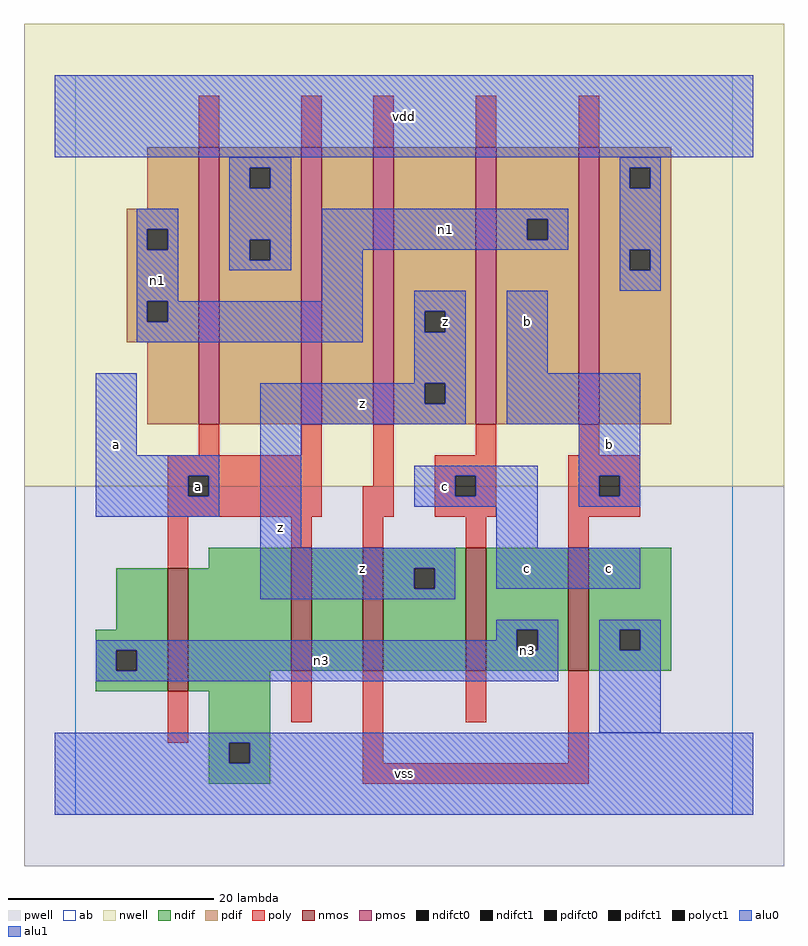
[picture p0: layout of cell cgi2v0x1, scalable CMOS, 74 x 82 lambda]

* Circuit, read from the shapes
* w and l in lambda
.subckt cgi2v0x1 a b c n1 n3 vdd vss z
M1 vss a n3 VSUBS nfet w=12 l=2
M2 n2 a vss VSUBS nfet w=12 l=2
M3 z b n2 VSUBS nfet w=12 l=2
M4 n3 c z VSUBS nfet w=12 l=2
M5 vss b n3 VSUBS nfet w=12 l=2
M6 vdd a n1 n4 pfet w=27 l=2
M7 n5 a vdd n4 pfet w=27 l=2
M8 z b n5 n4 pfet w=27 l=2
M9 n1 c z n4 pfet w=27 l=2
M10 vdd b n1 n4 pfet w=27 l=2
.ends

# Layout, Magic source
magic
tech scmos
<< ab >>
rect 0 0 64 72
<< nwell >>
rect -5 32 69 77
<< pwell >>
rect -5 -5 69 32
<< poly >>
rect 12 65 14 70
rect 22 65 24 70
rect 29 65 31 70
rect 39 65 41 70
rect 49 65 51 70
rect 12 35 14 38
rect 22 35 24 38
rect 9 33 24 35
rect 9 31 11 33
rect 13 31 24 33
rect 29 32 31 38
rect 39 35 41 38
rect 49 35 51 38
rect 9 29 24 31
rect 28 29 31 32
rect 35 33 41 35
rect 35 31 37 33
rect 39 31 41 33
rect 35 29 41 31
rect 48 33 55 35
rect 48 31 51 33
rect 53 31 55 33
rect 48 29 55 31
rect 9 24 11 29
rect 21 26 23 29
rect 28 26 30 29
rect 38 26 40 29
rect 48 26 50 29
rect 9 7 11 12
rect 21 9 23 14
rect 28 5 30 14
rect 38 9 40 14
rect 48 5 50 14
rect 28 3 50 5
<< ndif >>
rect 13 24 21 26
rect 4 18 9 24
rect 2 16 9 18
rect 2 14 4 16
rect 6 14 9 16
rect 2 12 9 14
rect 11 14 21 24
rect 23 14 28 26
rect 30 24 38 26
rect 30 22 33 24
rect 35 22 38 24
rect 30 14 38 22
rect 40 18 48 26
rect 40 16 43 18
rect 45 16 48 18
rect 40 14 48 16
rect 50 18 58 26
rect 50 16 53 18
rect 55 16 58 18
rect 50 14 58 16
rect 11 12 19 14
rect 13 7 19 12
rect 13 5 15 7
rect 17 5 19 7
rect 13 3 19 5
<< pdif >>
rect 7 59 12 65
rect 5 57 12 59
rect 5 55 7 57
rect 9 55 12 57
rect 5 50 12 55
rect 5 48 7 50
rect 9 48 12 50
rect 5 46 12 48
rect 7 38 12 46
rect 14 63 22 65
rect 14 61 17 63
rect 19 61 22 63
rect 14 56 22 61
rect 14 54 17 56
rect 19 54 22 56
rect 14 38 22 54
rect 24 38 29 65
rect 31 49 39 65
rect 31 47 34 49
rect 36 47 39 49
rect 31 42 39 47
rect 31 40 34 42
rect 36 40 39 42
rect 31 38 39 40
rect 41 58 49 65
rect 41 56 44 58
rect 46 56 49 58
rect 41 38 49 56
rect 51 63 58 65
rect 51 61 54 63
rect 56 61 58 63
rect 51 55 58 61
rect 51 53 54 55
rect 56 53 58 55
rect 51 38 58 53
<< alu1 >>
rect -2 64 66 72
rect 33 49 38 51
rect 33 47 34 49
rect 36 47 38 49
rect 2 35 6 43
rect 33 42 38 47
rect 18 40 34 42
rect 36 40 38 42
rect 18 38 38 40
rect 42 43 46 51
rect 42 38 55 43
rect 2 33 14 35
rect 2 31 11 33
rect 13 31 14 33
rect 2 29 14 31
rect 18 26 22 38
rect 33 33 45 34
rect 33 31 37 33
rect 39 31 45 33
rect 33 30 45 31
rect 49 33 55 38
rect 49 31 51 33
rect 53 31 55 33
rect 49 30 55 31
rect 41 26 45 30
rect 18 24 37 26
rect 18 22 33 24
rect 35 22 37 24
rect 41 22 55 26
rect 18 21 37 22
rect -2 7 66 8
rect -2 5 15 7
rect 17 5 66 7
rect -2 0 66 5
<< nmos >>
rect 9 12 11 24
rect 21 14 23 26
rect 28 14 30 26
rect 38 14 40 26
rect 48 14 50 26
<< pmos >>
rect 12 38 14 65
rect 22 38 24 65
rect 29 38 31 65
rect 39 38 41 65
rect 49 38 51 65
<< polyct1 >>
rect 11 31 13 33
rect 37 31 39 33
rect 51 31 53 33
<< ndifct0 >>
rect 4 14 6 16
rect 43 16 45 18
rect 53 16 55 18
<< ndifct1 >>
rect 33 22 35 24
rect 15 5 17 7
<< pdifct0 >>
rect 7 55 9 57
rect 7 48 9 50
rect 17 61 19 63
rect 17 54 19 56
rect 44 56 46 58
rect 54 61 56 63
rect 54 53 56 55
<< pdifct1 >>
rect 34 47 36 49
rect 34 40 36 42
<< alu0 >>
rect 15 63 21 64
rect 15 61 17 63
rect 19 61 21 63
rect 6 57 10 59
rect 6 55 7 57
rect 9 55 10 57
rect 6 50 10 55
rect 15 56 21 61
rect 53 63 57 64
rect 53 61 54 63
rect 56 61 57 63
rect 15 54 17 56
rect 19 54 21 56
rect 15 53 21 54
rect 24 58 48 59
rect 24 56 44 58
rect 46 56 48 58
rect 24 55 48 56
rect 53 55 57 61
rect 24 50 28 55
rect 53 53 54 55
rect 56 53 57 55
rect 53 51 57 53
rect 6 48 7 50
rect 9 48 28 50
rect 6 46 28 48
rect 41 18 47 19
rect 41 17 43 18
rect 2 16 43 17
rect 45 16 47 18
rect 2 14 4 16
rect 6 14 47 16
rect 2 13 47 14
rect 51 18 57 19
rect 51 16 53 18
rect 55 16 57 18
rect 51 8 57 16
<< labels >>
rlabel alu0 8 52 8 52 6 n1
rlabel alu0 24 15 24 15 6 n3
rlabel alu0 44 16 44 16 6 n3
rlabel alu0 36 57 36 57 6 n1
rlabel polyct1 12 32 12 32 6 a
rlabel alu1 4 36 4 36 6 a
rlabel alu1 28 24 28 24 6 z
rlabel alu1 20 28 20 28 6 z
rlabel alu1 28 40 28 40 6 z
rlabel alu1 32 4 32 4 6 vss
rlabel alu1 36 32 36 32 6 c
rlabel alu1 44 24 44 24 6 c
rlabel alu1 36 48 36 48 6 z
rlabel alu1 44 48 44 48 6 b
rlabel alu1 32 68 32 68 6 vdd
rlabel alu1 52 24 52 24 6 c
rlabel alu1 52 36 52 36 6 b
<< end >>
